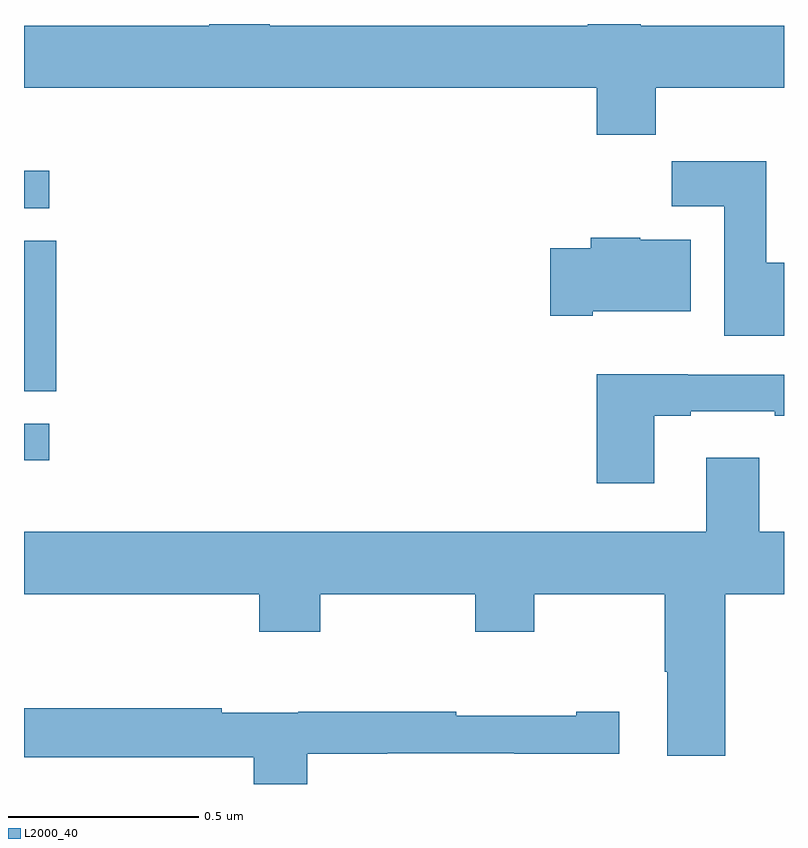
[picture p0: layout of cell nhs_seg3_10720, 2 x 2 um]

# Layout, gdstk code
import gdstk
lib = gdstk.Library(unit=1e-6, precision=1e-09)
def R(c, l, rs):  # rectangles x0, y0, x1, y1
    for r in rs: c.add(gdstk.rectangle(r[:2], r[2:], *l))
def P(c, l, *ps):  # polygons
    for p in ps: c.add(gdstk.Polygon(p, *l))
L2000_40 = (2000, 40)

nhs_seg3_10720 = lib.new_cell('nhs_seg3_10720')
R(nhs_seg3_10720, L2000_40, [(244,717.252,244.066,717.348), (244,717.433,244.085,717.83), (244,717.915,244.066,718.014)])
P(nhs_seg3_10720, L2000_40, [(245.663,718.232),(246,718.232),(246,718.396),(245.623,718.396),(245.623,718.4),(245.483,718.4),(245.483,718.396),(244.647,718.396),(244.647,718.4),(244.487,718.4),(244.487,718.396),(244,718.396),(244,718.232),(245.507,718.232),(245.507,718.108),(245.663,718.108)],
  [(246,717.772),(245.953,717.772),(245.953,718.039),(245.704,718.039),(245.704,717.92),(245.843,717.92),(245.843,717.579),(246,717.579)],
  [(245.497,717.644),(245.755,717.644),(245.755,717.832),(245.622,717.832),(245.622,717.838),(245.492,717.838),(245.492,717.81),(245.385,717.81),(245.385,717.632),(245.497,717.632)],
  [(245.659,717.369),(245.755,717.369),(245.755,717.381),(245.975,717.381),(245.975,717.369),(246,717.369),(246,717.477),(245.747,717.477),(245.747,717.478),(245.507,717.478),(245.507,717.192),(245.659,717.192)],
  [(245.846,716.9),(246,716.9),(246,717.064),(245.935,717.064),(245.935,717.259),(245.795,717.259),(245.795,717.064),(244,717.064),(244,716.9),(244.619,716.9),(244.619,716.801),(244.779,716.801),(244.779,716.9),(245.188,716.9),(245.188,716.801),(245.343,716.801),(245.343,716.9),(245.686,716.9),(245.686,716.696),(245.693,716.696),(245.693,716.475),(245.846,716.475)],
  [(244.746,716.48),(244.956,716.48),(244.956,716.481),(245.29,716.481),(245.29,716.48),(245.566,716.48),(245.566,716.59),(245.453,716.59),(245.453,716.58),(245.138,716.58),(245.138,716.59),(244.722,716.59),(244.722,716.588),(244.52,716.588),(244.52,716.599),(244,716.599),(244,716.47),(244.604,716.47),(244.604,716.4),(244.746,716.4)])

lib.write_gds('nhs_seg3_10720.gds')
